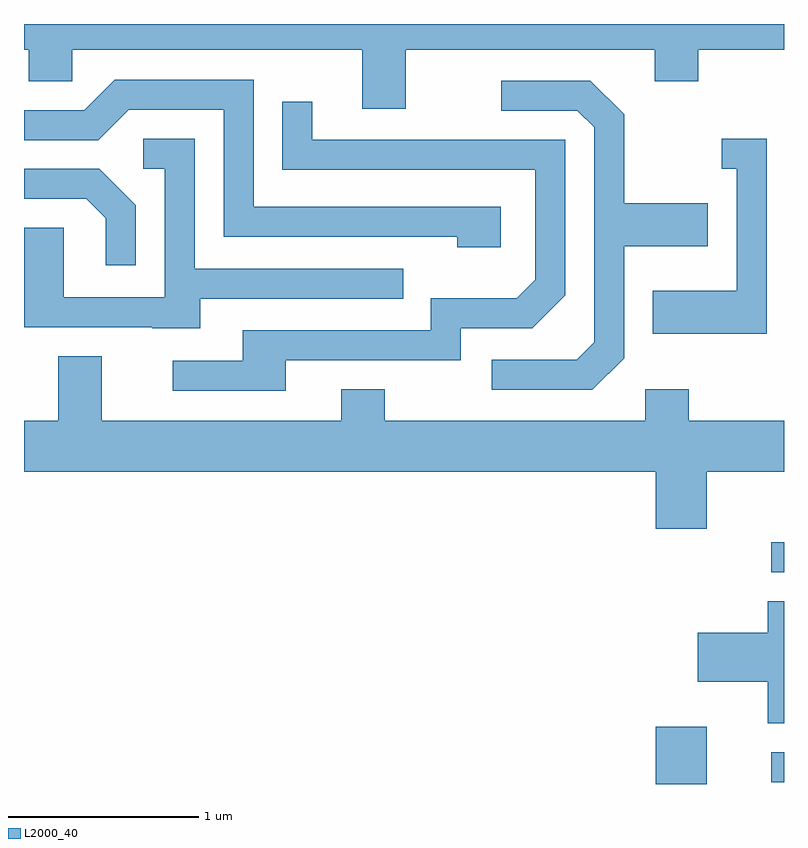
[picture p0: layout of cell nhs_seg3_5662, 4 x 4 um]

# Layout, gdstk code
import gdstk
lib = gdstk.Library(unit=1e-6, precision=1e-09)
def R(c, l, rs):  # rectangles x0, y0, x1, y1
    for r in rs: c.add(gdstk.rectangle(r[:2], r[2:], *l))
def P(c, l, *ps):  # polygons
    for p in ps: c.add(gdstk.Polygon(p, *l))
L2000_40 = (2000, 40)

nhs_seg3_5662 = lib.new_cell('nhs_seg3_5662')
R(nhs_seg3_5662, L2000_40, [(354.936,1159.892,355.204,1160.194), (355.543,1159.901,355.611,1160.059), (355.543,1161.006,355.611,1161.164)])
P(nhs_seg3_5662, L2000_40, [(353.619,1163.756),(354.931,1163.756),(354.931,1163.591),(355.159,1163.591),(355.159,1163.756),(355.611,1163.756),(355.611,1163.892),(351.611,1163.892),(351.611,1163.756),(351.636,1163.756),(351.636,1163.591),(351.864,1163.591),(351.864,1163.756),(353.391,1163.756),(353.391,1163.446),(353.619,1163.446)],
  [(354.119,1162.929),(352.819,1162.929),(352.819,1163.599),(352.089,1163.599),(351.929,1163.439),(351.611,1163.439),(351.611,1163.281),(352.002,1163.281),(352.162,1163.441),(352.661,1163.441),(352.661,1162.771),(353.891,1162.771),(353.891,1162.716),(354.119,1162.716)],
  [(354.769,1162.134),(354.769,1162.721),(355.209,1162.721),(355.209,1162.949),(354.769,1162.949),(354.769,1163.417),(354.592,1163.594),(354.123,1163.594),(354.123,1163.436),(354.524,1163.436),(354.611,1163.349),(354.611,1162.217),(354.519,1162.124),(354.073,1162.124),(354.073,1161.966),(354.602,1161.966)],
  [(352.989,1162.121),(353.909,1162.121),(353.909,1162.291),(354.287,1162.291),(354.459,1162.464),(354.459,1163.284),(353.129,1163.284),(353.129,1163.483),(352.971,1163.483),(352.971,1163.126),(354.301,1163.126),(354.301,1162.547),(354.204,1162.449),(353.751,1162.449),(353.751,1162.279),(352.761,1162.279),(352.761,1162.119),(352.393,1162.119),(352.393,1161.961),(352.989,1161.961)],
  [(355.519,1163.289),(355.283,1163.289),(355.283,1163.131),(355.361,1163.131),(355.361,1162.489),(354.921,1162.489),(354.921,1162.261),(355.519,1162.261)],
  [(352.539,1162.446),(353.608,1162.446),(353.608,1162.604),(352.509,1162.604),(352.509,1163.289),(352.238,1163.289),(352.238,1163.131),(352.351,1163.131),(352.351,1162.454),(351.819,1162.454),(351.819,1162.819),(351.611,1162.819),(351.611,1162.296),(352.285,1162.296),(352.285,1162.291),(352.539,1162.291)],
  [(352.199,1162.937),(352.007,1163.129),(351.611,1163.129),(351.611,1162.971),(351.939,1162.971),(352.041,1162.869),(352.041,1162.623),(352.199,1162.623)],
  [(355.204,1161.536),(355.611,1161.536),(355.611,1161.804),(355.109,1161.804),(355.109,1161.969),(354.881,1161.969),(354.881,1161.804),(353.509,1161.804),(353.509,1161.969),(353.281,1161.969),(353.281,1161.804),(352.019,1161.804),(352.019,1162.144),(351.791,1162.144),(351.791,1161.804),(351.611,1161.804),(351.611,1161.536),(354.936,1161.536),(354.936,1161.236),(355.204,1161.236)],
  [(355.611,1160.854),(355.526,1160.854),(355.526,1160.689),(355.156,1160.689),(355.156,1160.431),(355.526,1160.431),(355.526,1160.211),(355.611,1160.211)])

lib.write_gds('nhs_seg3_5662.gds')
